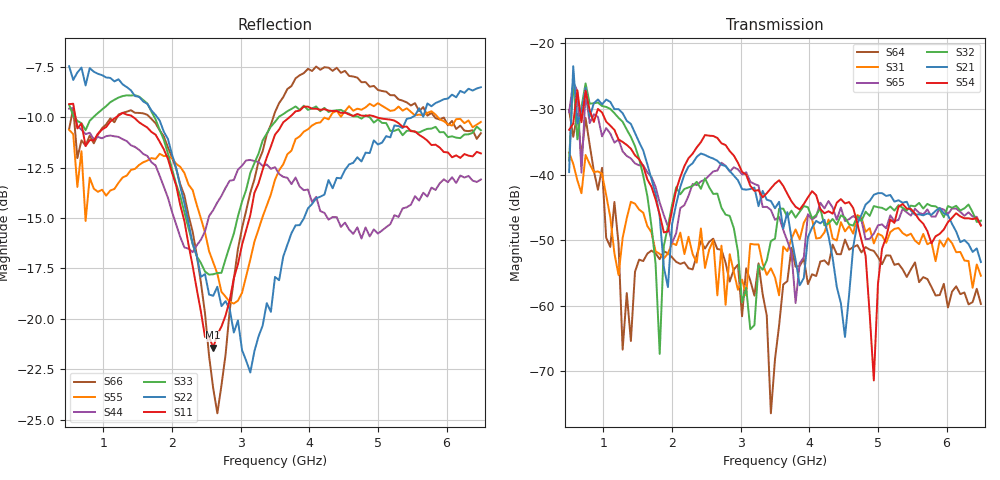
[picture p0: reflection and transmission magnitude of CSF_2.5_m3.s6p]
!Keysight Technologies,M9804A,MY58100912,A.14.10.03
!Date: Thursday, April 27, 2023 10:28:33
!Correction: S11(C  6-Port  )
!S12(C  6-Port  )
!S13(C  6-Port  )
!S14(C  6-Port  )
!S15(C  6-Port  )
!S16(C  6-Port  )
!S21(C  6-Port  )
!S22(C  6-Port  )
!S23(C  6-Port  )
!S24(C  6-Port  )
!S25(C  6-Port  )
!S26(C  6-Port  )
!S31(C  6-Port  )
!S32(C  6-Port  )
!S33(C  6-Port  )
!S34(C  6-Port  )
!S35(C  6-Port  )
!S36(C  6-Port  )
!S41(C  6-Port  )
!S42(C  6-Port  )
!S43(C  6-Port  )
!S44(C  6-Port  )
!S45(C  6-Port  )
!S46(C  6-Port  )
!S51(C  6-Port  )
!S52(C  6-Port  )
!S53(C  6-Port  )
!S54(C  6-Port  )
!S55(C  6-Port  )
!S56(C  6-Port  )
!S61(C  6-Port  )
!S62(C  6-Port  )
!S63(C  6-Port  )
!S64(C  6-Port  )
!S65(C  6-Port  )
!S66(C  6-Port  )
!S6P File: Measurement: :
# Hz S  RI  R 50
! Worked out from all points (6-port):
!   101 points, 500 MHz to 6.5 GHz, reference 50 ohm
!   strongest paths, dB at 500 MHz, 2 GHz, 3.5 GHz, 5 GHz, 6.5 GHz:
!     S54: -33.2, -45.4, -41.4, -56.7, -47.8
!     S21: -39.6, -47.6, -45.1, -42.8, -53.3
!     S32: -37.8, -44.6, -49.8, -45.0, -47.0
!     S65: -30.5, -50.4, -46.9, -47.8, -47.7
!     S31: -36.7, -50.4, -55.7, -49.0, -55.4
!     S64: -30.2, -52.6, -68.2, -52.6, -59.7
!   lowest |S11| = -21.4 dB at 2.6 GHz (marker M1), VSWR 1.19, Z = 42.5 + j2.17 ohm
!   |S11| at or under -10 dB: 592.4 MHz to 1.188 GHz (596 MHz wide, 66.9 % of centre); 1.432 GHz to 3.713 GHz (2.28 GHz wide, 88.6 % of centre); 4.974 GHz to end of sweep
